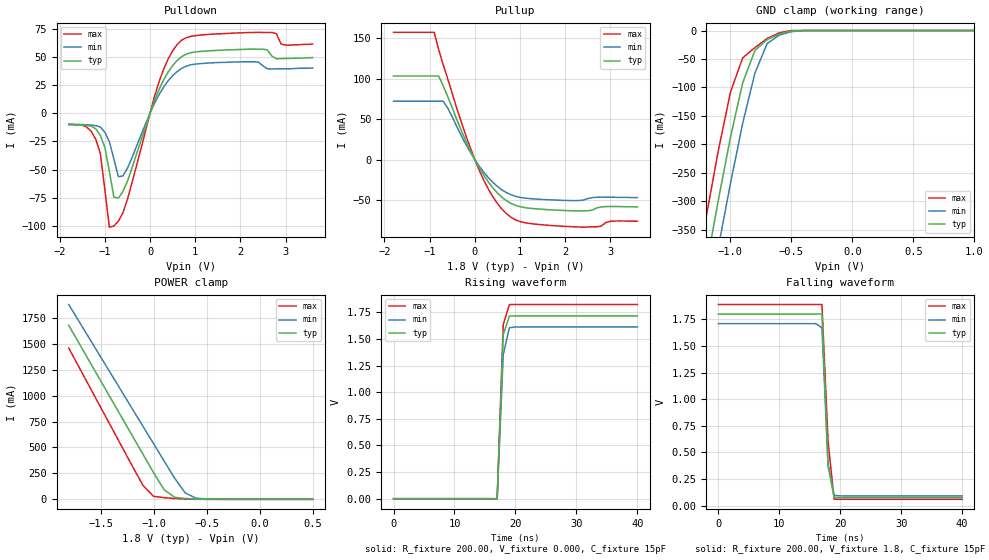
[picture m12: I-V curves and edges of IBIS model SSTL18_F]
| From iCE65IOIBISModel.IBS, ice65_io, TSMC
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|   Model SSTL18_F
[Model]   SSTL18_F
Model_type   I/O
Polarity   Non-Inverting
Enable   Active-High
Vinl =   0.63V
Vinh =   1.17V
Vmeas =   0.9V
Cref =  15.00pF
Rref =   1.00M
Vref =  0.000V
C_comp   1.30pF   1.17pF   1.43pF
[Temperature Range]   25.00   85   -40.00
[Voltage Range]   1.8V   1.71V   1.89V
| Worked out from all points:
|   slope of the pulldown table from 0 to 0.27 V, typ, clamps not added: 10 ohm
|   slope of the pullup table from 0 to 0.27 V, typ, clamps not added: 10.7 ohm
|   GND clamp passes 1 mA (typ) near -0.50 V on its own axis
|   POWER clamp passes 1 mA (typ) near -0.52 V on its own axis
|   rising waveform, R_fixture 200.00, V_fixture 0.000, C_fixture 15pF: 20-80 % time 666ps typ, 715ps min, 669ps max; typ from 0 V to 1.72 V
|   falling waveform, R_fixture 200.00, V_fixture 1.8, C_fixture 15pF: 20-80 % time 724ps typ, 759ps min, 1.05ns max; typ from 1.8 V to 0.075 V
[Pulldown]
| voltage I(typ) I(min) I(max)
-1.8V     -10mA      -9.7mA     -9.9mA
-1.2V     -13.8mA    -10.9mA    -23.2mA
-1.1V     -19.6mA    -12.2mA    -35.7mA
-900mV    -51.5mA    -25.2mA    -101mA
-800mV    -74.4mA    -40.5mA    -99.9mA
-700mV    -75.2mA    -56.3mA    -95.7mA
-600mV    -69.3mA    -55.6mA    -88.2mA
200mV     21.1mA     16.5mA     28mA
700mV     50.2mA     39.8mA     64.8mA
2.7V      50.6mA     39.3mA     71.7mA
2.9V      48.5mA     39.5mA     61.5mA
3.6V      49.4mA     40.1mA     61.4mA
[Pullup]
| voltage I(typ) I(min) I(max)
-1.8V     103.5mA    72.3mA     157.6mA
-900mV    103.5mA    72.3mA     157.6mA
-800mV    103.5mA    72.3mA     136.2mA
-700mV    91.4mA     72.3mA     117.4mA
-300mV    36mA       29.7mA     46.4mA
100mV     -10.3mA    -8.4mA     -13.6mA
400mV     -35.1mA    -28.3mA    -46.2mA
800mV     -54.4mA    -43.7mA    -71.5mA
1.2V      -60.3mA    -48.3mA    -79.1mA
2.4V      -63.6mA    -50.3mA    -83.8mA
3V        -58.2mA    -46.7mA    -76.6mA
3.6V      -58.7mA    -47.2mA    -76.5mA
[GND_clamp]
| voltage I(typ) I(min) I(max)
-1.8V     -1.146A    -1.208A    -1.081A
-1.3V     -535mA     -613mA     -451mA
-1.2V     -416mA     -496mA     -328mA
-1.1V     -298mA     -381mA     -211mA
-1V       -187mA     -268mA     -108mA
-900mV    -92mA      -163mA     -48mA
-800mV    -35mA      -75mA      -30mA
-700mV    -16mA      -23mA      -14mA
-600mV    -6mA       -8mA       -4mA
-500mV    -1mA       -2mA       0A
-400mV    0A         0A         0A
1V        0A         0A         0A
[POWER_clamp]
| voltage I(typ) I(min) I(max)
-1.8V     1.678A     1.879A     1.459A
-1.1V     435.3mA    704.4mA    134.7mA
-1V       257.9mA    536.9mA    28.9mA
-900mV    91.8mA     369.3mA    15.8mA
-800mV    19.2mA     202.2mA    8mA
-700mV    8.2mA      60.4mA     2.3mA
-600mV    3mA        11.6mA     100uA
-400mV    0A         800uA      0A
500mV     0A         0A         0A
[Ramp]
| variable   typ   min   max
dV/dt_r   1.03/0.497n 0.97/0.597n 1.09/0.396n
dV/dt_f   1.03/0.613n 0.97/0.744n 1.10/0.49n
R_load = 200
[Rising Waveform]
R_fixture = 200.00
V_fixture = 0.000
V_fixture_min = 0.000
V_fixture_max = 0.000
L_fixture = 0.000H
C_fixture = 15pF
| time   V(typ)   V(min)   V(max)
0s        0V         0V         0V
16ns      0V         0V         0V
17ns      -6mV       0V         0V
18ns      1.54V      1.354V     1.635V
19ns      1.715V     1.605V     1.823V
20ns      1.717V     1.613V     1.824V
40ns      1.717V     1.613V     1.824V
[Falling Waveform]
R_fixture = 200.00
V_fixture = 1.8
V_fixture_min = 1.71
V_fixture_max = 1.89
L_fixture = 0.000H
C_fixture = 15pF
| time   V(typ)   V(min)   V(max)
0s        1.8V       1.71V      1.89V
16ns      1.8V       1.71V      1.89V
17ns      1.802V     1.671V     1.89V
18ns      372.5mV    390.9mV    605.5mV
19ns      77.3mV     97.7mV     60.1mV
20ns      75.3mV     91.7mV     59.3mV
40ns      75.3mV     91.5mV     59.3mV
